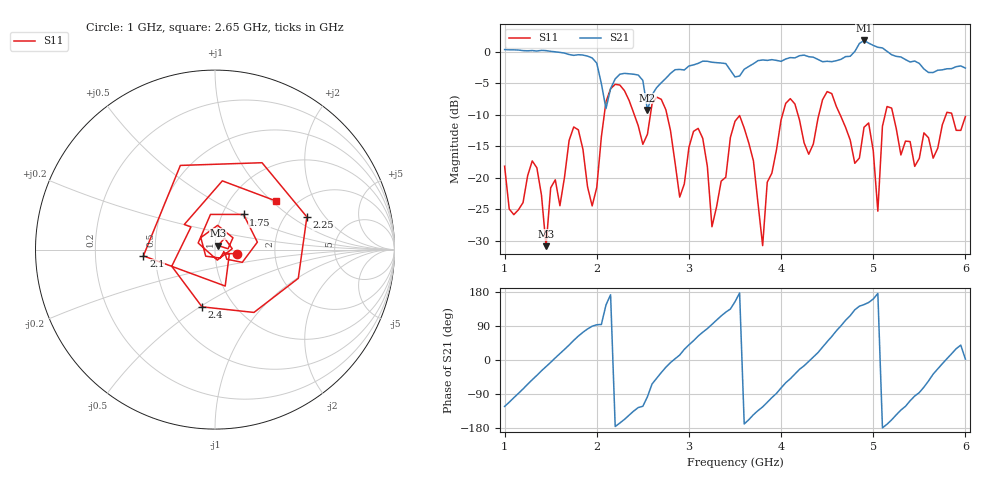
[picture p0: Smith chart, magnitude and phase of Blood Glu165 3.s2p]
! NanoVNA-App
! Date: 2024-03-21 15:35:56
! Start: 1GHz Stop: 6GHz Points: 101
! S-Parameter data: F S11 S21 S12 S22
# Hz S RI R 50
!	Frequency	S11_Real	S11_Imag	S21_Real	S21_Imag	S12_Real	S12_Imag	S22_Real	S22_Imag
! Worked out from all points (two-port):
!   101 points, 1 GHz to 6 GHz, reference 50 ohm
!   highest |S21| = 1.78 dB at 4.9 GHz (marker M1); lowest = -9.3 dB at 2.55 GHz (marker M2)
!   |S21| within 3 dB of the highest: start of sweep to 1.963 GHz; 4.649 GHz to 5.346 GHz (696.5 MHz wide, 13.9 % of centre)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
!   lowest |S11| = -30.9 dB at 1.45 GHz (marker M3), VSWR 1.06, Z = 51.7 + j2.34 ohm
!   |S11| at or under -10 dB: start of sweep to 2.082 GHz; 2.762 GHz to 4.016 GHz (1.254 GHz wide, 37 % of centre); 5.216 GHz to 5.791 GHz (574.7 MHz wide, 10.4 % of centre)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
!   S12 and S22 are empty: the file has one direction only
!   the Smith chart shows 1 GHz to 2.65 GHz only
!   S11 on the Smith chart (normalised r, x): 1 GHz: 1.27, -0.06; 1.75 GHz: 1.26, +0.53; 2.1 GHz: 0.43, -0.04; 2.25 GHz: 2.60, +1.34; 2.4 GHz: 0.71, -0.51; 2.65 GHz: 1.60, +1.07
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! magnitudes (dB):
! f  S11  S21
! 1 GHz  -18.2  0.3
! 1.45 GHz  -30.9  0.2
! 1.75 GHz  -12.0  -0.6
! 1.85 GHz  -15.5  -0.5
! 1.95 GHz  -24.5  -1.0
! 2.1 GHz  -7.9  -9.0
! 2.25 GHz  -5.3  -3.6
! 2.4 GHz  -9.7  -3.6
! 2.55 GHz  -13.1  -9.3
! 2.65 GHz  -7.2  -5.7
! 2.7 GHz  -7.6  -4.9
! 2.9 GHz  -23.1  -2.8
! 3.15 GHz  -13.8  -1.5
! 3.25 GHz  -27.8  -1.7
! 3.5 GHz  -11.1  -4.0
! 3.8 GHz  -30.8  -1.3
! 4.05 GHz  -8.2  -1.2
! 4.35 GHz  -14.7  -0.9
! 4.9 GHz  -12.0  1.8
! 5.05 GHz  -25.3  0.7
! 5.2 GHz  -9.0  -0.5
! 6 GHz  -10.3  -2.6
